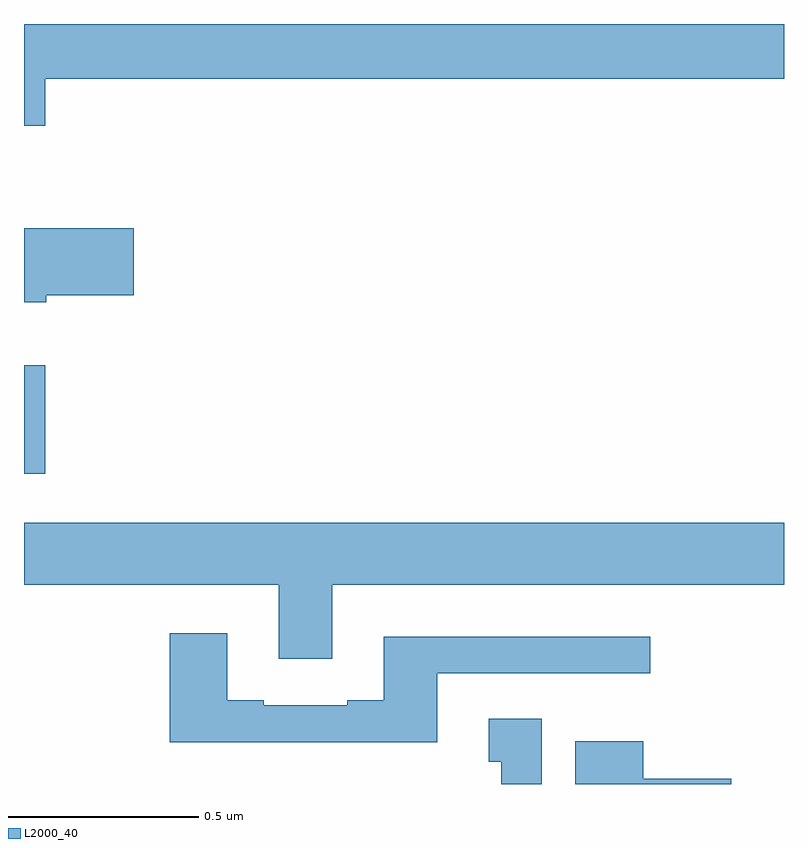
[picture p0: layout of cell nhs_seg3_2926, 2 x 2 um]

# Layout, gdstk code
import gdstk
lib = gdstk.Library(unit=1e-6, precision=1e-09)
def R(c, l, rs):  # rectangles x0, y0, x1, y1
    for r in rs: c.add(gdstk.rectangle(r[:2], r[2:], *l))
def P(c, l, *ps):  # polygons
    for p in ps: c.add(gdstk.Polygon(p, *l))
L2000_40 = (2000, 40)

nhs_seg3_2926 = lib.new_cell('nhs_seg3_2926')
R(nhs_seg3_2926, L2000_40, [(147,693.216,147.056,693.502)])
P(nhs_seg3_2926, L2000_40, [(147.056,694.256),(149,694.256),(149,694.4),(147,694.4),(147,694.132),(147.056,694.132)],
  [(147.058,693.686),(147.289,693.686),(147.289,693.862),(147,693.862),(147,693.668),(147.058,693.668)],
  [(147.811,692.924),(149,692.924),(149,693.088),(147,693.088),(147,692.924),(147.671,692.924),(147.671,692.73),(147.811,692.73)],
  [(148.087,692.691),(148.648,692.691),(148.648,692.788),(147.947,692.788),(147.947,692.62),(147.851,692.62),(147.851,692.607),(147.631,692.607),(147.631,692.62),(147.535,692.62),(147.535,692.797),(147.383,692.797),(147.383,692.51),(148.087,692.51)],
  [(148.363,692.572),(148.223,692.572),(148.223,692.459),(148.256,692.459),(148.256,692.4),(148.363,692.4)],
  [(148.861,692.414),(148.63,692.414),(148.63,692.512),(148.451,692.512),(148.451,692.4),(148.861,692.4)])

lib.write_gds('nhs_seg3_2926.gds')
